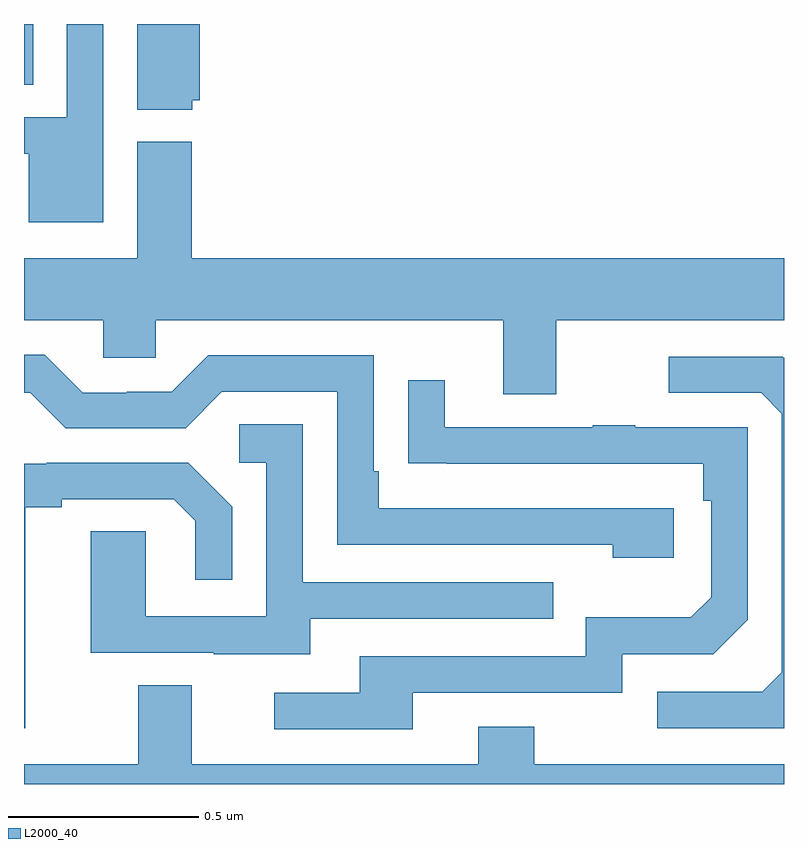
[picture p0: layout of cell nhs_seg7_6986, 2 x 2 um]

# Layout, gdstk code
import gdstk
lib = gdstk.Library(unit=1e-6, precision=1e-09)
def R(c, l, rs):  # rectangles x0, y0, x1, y1
    for r in rs: c.add(gdstk.rectangle(r[:2], r[2:], *l))
def P(c, l, *ps):  # polygons
    for p in ps: c.add(gdstk.Polygon(p, *l))
L2000_40 = (2000, 40)

nhs_seg7_6986 = lib.new_cell('nhs_seg7_6986')
R(nhs_seg7_6986, L2000_40, [(205,1063.84,205.024,1064)])
P(nhs_seg7_6986, L2000_40, [(205.443,1063.8),(205.462,1063.8),(205.462,1064),(205.298,1064),(205.298,1063.775),(205.443,1063.775)],
  [(205.209,1064),(205.113,1064),(205.113,1063.755),(205,1063.755),(205,1063.659),(205.013,1063.659),(205.013,1063.478),(205.209,1063.478)],
  [(206.401,1063.22),(207,1063.22),(207,1063.384),(205.442,1063.384),(205.442,1063.69),(205.298,1063.69),(205.298,1063.384),(205,1063.384),(205,1063.22),(205.209,1063.22),(205.209,1063.122),(205.347,1063.122),(205.347,1063.22),(206.261,1063.22),(206.261,1063.026),(206.401,1063.026)],
  [(206.71,1062.726),(205.933,1062.726),(205.933,1062.823),(205.92,1062.823),(205.92,1063.128),(205.485,1063.128),(205.389,1063.032),(205.271,1063.032),(205.271,1063.029),(205.155,1063.029),(205.055,1063.129),(205,1063.129),(205,1063.029),(205.017,1063.029),(205.11,1062.936),(205.425,1062.936),(205.521,1063.032),(205.824,1063.032),(205.824,1062.63),(206.549,1062.63),(206.549,1062.596),(206.71,1062.596)],
  [(207,1063.122),(206.997,1063.125),(206.697,1063.125),(206.697,1063.029),(206.94,1063.029),(206.994,1062.975),(206.994,1062.294),(206.943,1062.243),(206.667,1062.243),(206.667,1062.147),(207,1062.147)],
  [(206.023,1062.24),(206.574,1062.24),(206.574,1062.342),(206.814,1062.342),(206.904,1062.432),(206.904,1062.939),(206.609,1062.939),(206.609,1062.944),(206.497,1062.944),(206.497,1062.939),(206.107,1062.939),(206.107,1063.063),(206.011,1063.063),(206.011,1062.844),(206.113,1062.844),(206.113,1062.843),(206.788,1062.843),(206.788,1062.746),(206.808,1062.746),(206.808,1062.492),(206.755,1062.439),(206.478,1062.439),(206.478,1062.336),(205.883,1062.336),(205.883,1062.24),(205.659,1062.24),(205.659,1062.144),(206.023,1062.144)],
  [(205.753,1062.435),(206.393,1062.435),(206.393,1062.531),(205.734,1062.531),(205.734,1062.947),(205.566,1062.947),(205.566,1062.846),(205.638,1062.846),(205.638,1062.441),(205.32,1062.441),(205.32,1062.665),(205.175,1062.665),(205.175,1062.345),(205.499,1062.345),(205.499,1062.341),(205.753,1062.341)],
  [(205.003,1062.728),(205.099,1062.728),(205.099,1062.75),(205.394,1062.75),(205.451,1062.693),(205.451,1062.537),(205.548,1062.537),(205.548,1062.73),(205.432,1062.846),(205.06,1062.846),(205.06,1062.843),(205,1062.843),(205,1062.147),(205.003,1062.147)],
  [(207,1062.052),(206.343,1062.052),(206.343,1062.151),(206.195,1062.151),(206.195,1062.052),(205.441,1062.052),(205.441,1062.26),(205.301,1062.26),(205.301,1062.052),(205,1062.052),(205,1062),(207,1062)])

lib.write_gds('nhs_seg7_6986.gds')
